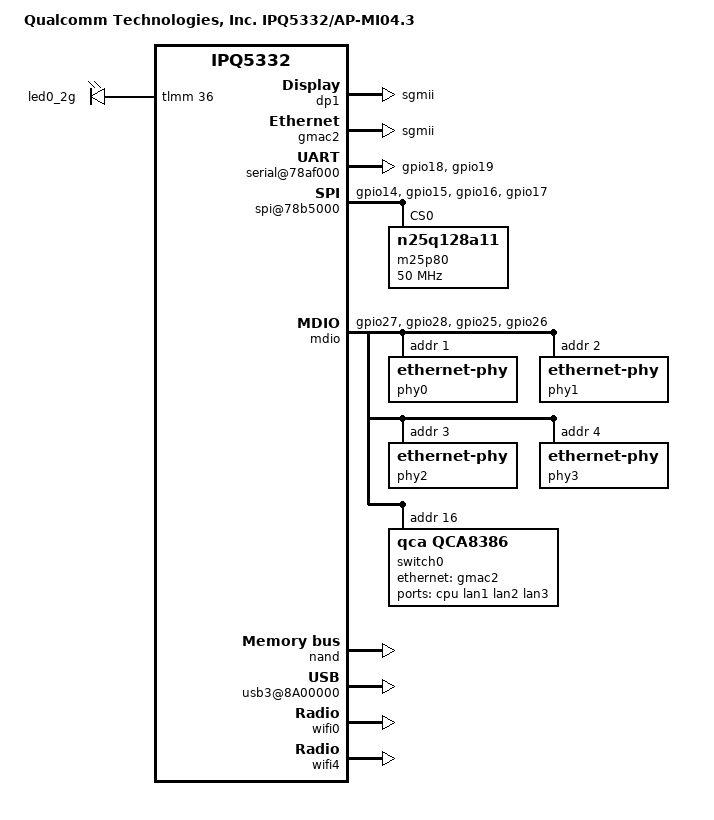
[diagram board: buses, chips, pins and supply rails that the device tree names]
// SPDX-License-Identifier: (GPL-2.0+ OR BSD-3-Clause)
/*
 * IPQ5332 AP-MI04.3 board device tree source
 *
 * Copyright (c) 2020-2021 The Linux Foundation. All rights reserved.
 * Copyright (c) 2022-2023 Qualcomm Innovation Center, Inc. All rights reserved.
 */

/dts-v1/;

#include "ipq5332.dtsi"
#include "ipq5332-memory.dtsi"

/ {
	#address-cells = <0x2>;
	#size-cells = <0x2>;
	model = "Qualcomm Technologies, Inc. IPQ5332/AP-MI04.3";
	compatible = "qcom,ipq5332-ap-mi04.3", "qcom,ipq5332";
	interrupt-parent = <&intc>;

	/*	  Layout for IPQ5332 + QCN6432
	 * +==========+==============+========================+
	 * |         |              |                         |
	 * |  Region | Start Offset |          Size           |
	 * |         |              |                         |
	 * +---------+--------------+-------------------------+
	 * |   Q6    |              |                         |
	 * |  code/  |  0x4A900000  |          20MB           |
	 * |  data   |              |                         |
	 * +---------+--------------+-------------------------+
	 * | IPQ5332 |              |                         |
	 * |  data   |  0x4BD00000  |          15MB           |
	 * +---------+--------------+-------------------------+
	 * | IPQ5332 |              |                         |
	 * | M3 Dump |  0x4CC00000  |           1MB           |
	 * +---------+--------------+-------------------------+
	 * | IPQ5332 |              |                         |
	 * |  QDSS   |  0x4CD00000  |           1MB           |
	 * +---------+--------------+-------------------------+
	 * |QCN6432_1|              |                         |
	 * |  data   |  0x4CE00000  |          16MB           |
	 * +---------+--------------+-------------------------+
	 * |QCN6432_1|              |                         |
	 * | M3 Dump |  0x4DE00000  |           1MB           |
	 * +---------+--------------+-------------------------+
	 * |QCN6432_1|              |                         |
	 * |  QDSS   |  0x4DF00000  |           1MB           |
	 * +---------+--------------+-------------------------+
	 * |         |              |                         |
	 * |   MLO   |  0x4E000000  |          9MB           |
	 * +==================================================+
	 * |                                                  |
	 * |                                                  |
	 * |                                                  |
	 * |             Rest of memory for Linux             |
	 * |                                                  |
	 * |                                                  |
	 * |                                                  |
	 * +==================================================+
	 */

	reserved-memory {

		/delete-node/ wcnss@4a900000;

		q6_mem_regions: q6_mem_regions@4A900000  {
			no-map;
			reg = <0x0 0x4a900000 0x0 0x3700000>;
		};

		q6_code_data: q6_code_data@4A900000 {
			no-map;
			reg = <0x0 0x4a900000 0x0 0x1400000>;
		};

		q6_ipq5332_data: q6_ipq5332_data@4BD00000 {
			no-map;
			reg = <0x0 0x4BD00000 0x0 0xF00000>;
		};

		m3_dump: m3_dump@4CC00000 {
			no-map;
			reg = <0x0 0x4CC00000 0x0 0x100000>;
		};

		q6_etr_region: q6_etr_dump@4CD00000 {
			no-map;
			reg = <0x0 0x4CD00000 0x0 0x100000>;
		};

		q6_qcn6432_data_1: q6_qcn6432_data_1@4CE00000 {
			no-map;
			reg = <0x0 0x4CE00000 0x0 0x1000000>;
		};

		m3_dump_qcn6432_1: m3_dump_qcn6432_1@4DE00000 {
			no-map;
			reg = <0x0 0x4DE00000 0x0 0x100000>;
                };

		q6_qcn6432_etr_1: q6_qcn6432_etr_1@4DF00000 {
			no-map;
			reg = <0x0 0x4DF00000 0x0 0x100000>;
		};

		mlo_global_mem0: mlo_global_mem_0@4E000000 {
			no-map;
			reg = <0x0 0x4E000000 0x0 0x900000>;
		};
	};

	aliases {
		serial0 = &blsp1_uart0;
		serial1 = &blsp1_uart1;
		ethernet0 = "/soc/dp1";
		ethernet1 = "/soc/dp2";
	};

	chosen {
		stdout-path = "serial0";
		bootargs-append = " clk_ignore_unused";
	};

	soc {
		pinctrl@1000000 {
			spi_0_pins: spi0-pinmux {
				spi_clock {
					pins = "gpio14";
					function = "blsp0_spi";
					drive-strength = <2>;
					bias-pull-down;
				};

				spi_mosi {
					pins = "gpio15";
					function = "blsp0_spi";
					drive-strength = <2>;
					bias-pull-down;
				};

				spi_miso {
					pins = "gpio16";
					function = "blsp0_spi";
					drive-strength = <2>;
					bias-pull-down;
				};

				spi_cs {
					pins = "gpio17";
					function = "blsp0_spi";
					drive-strength = <2>;
					bias-pull-up;
				};
			};

			serial_0_pins: serial0-pinmux {
				pins = "gpio18", "gpio19";
				function = "blsp0_uart0";
				drive-strength = <8>;
				bias-pull-up;
			};

			serial_1_pins: serial1-pinmux {
				pins = "gpio33", "gpio34", "gpio35", "gpio36";
				function = "blsp1_uart2";
				drive-strength = <8>;
				bias-pull-up;
			};

			i2c_1_pins: i2c-1-pinmux {
				pins = "gpio29", "gpio30";
				function = "blsp1_i2c0";
				drive-strength = <8>;
				bias-pull-up;
			};

			leds_pins: leds_pinmux {
				led0_2g {
					pins = "gpio36";
					function = "gpio";
					drive-strength = <8>;
					bias-pull-down;
				};
			};

			mdio0_pins: mdio0_pinmux {
				mux_0 {
					pins = "gpio25";
					function = "mdc0";
					drive-strength = <2>;
					bias-pull-up;
				};
				mux_1 {
					pins = "gpio26";
					function = "mdio0";
					drive-strength = <2>;
					bias-pull-up;
				};
			};

			mdio1_pins: mdio1_pinmux {
				mux_0 {
					pins = "gpio27";
					function = "mdc1";
					drive-strength = <8>;
					bias-pull-up;
				};
				mux_1 {
					pins = "gpio28";
					function = "mdio1";
					drive-strength = <8>;
					bias-pull-up;
				};
			};
		};

		dp1 {
			device_type = "network";
			compatible = "qcom,nss-dp";
			qcom,id = <2>;
			reg = <0x3a504000 0x4000>;
			qcom,mactype = <1>;
			local-mac-address = [000000000000];
			mdio-bus = <&mdio>;
			qcom,phy-mdio-addr = <4>;
			qcom,link-poll = <1>;
			phy-mode = "sgmii";
		};

		gmac2:dp2 {
			device_type = "network";
			compatible = "qcom,nss-dp";
			qcom,id = <1>;
			reg = <0x3a500000 0x4000>;
			qcom,mactype = <1>;
			local-mac-address = [000000000000];
			phy-mode = "sgmii";
			qcom,ppe-offload-disabled = <1>;
			qcom,mht-dev = <1>;
			qcom,is_switch_connected = <1>;
		};

		serial@78af000 {
			pinctrl-0 = <&serial_0_pins>;
			pinctrl-names = "default";
			status = "ok";
		};

		serial@78b0000 {
			pinctrl-0 = <&serial_1_pins>;
			pinctrl-names = "default";
			status = "disabled";
		};

		spi@78b5000 {
			pinctrl-0 = <&spi_0_pins>;
			pinctrl-names = "default";
			cs-select = <0>;
			status = "ok";

			m25p80@0 {
				compatible = "n25q128a11";
				#address-cells = <1>;
				#size-cells = <1>;
				reg = <0>;
				spi-max-frequency = <50000000>;
			};
		};

		i2c_1: i2c@78b6000 {
			pinctrl-0 = <&i2c_1_pins>;
			pinctrl-names = "default";
		};

		mdio:mdio@90000 {
			status = "ok";
			pinctrl-0 = <&mdio1_pins &mdio0_pins>;
			pinctrl-names = "default";
			/*gpio51 for manhattan reset*/
			phy-reset-gpio = <&tlmm 51 0>;
			phyaddr_fixup = <0xC90F018>;
			uniphyaddr_fixup = <0xC90F014>;
			mdio_clk_fixup; /* MDIO clock sequence fix up flag */

			phy0: ethernet-phy@0 {
				reg = <1>;
				fixup;
			};
			phy1: ethernet-phy@1 {
				reg = <2>;
				fixup;
			};
			phy2: ethernet-phy@2 {
				reg = <3>;
				fixup;
			};
			phy3: ethernet-phy@3 {
				reg = <4>;
				fixup;
			};

			switch0@10 {
				compatible = "qca,qca8386";
				#address-cells = <1>;
				#size-cells = <0>;
				reg = <0x10>;

				ports {
					#address-cells = <1>;
					#size-cells = <0>;

					port@0 {
						reg = <0>;
						label = "cpu";
						ethernet = <&gmac2>;
						phy-mode = "sgmii";
					};

					port@1 {
						reg = <1>;
						label = "lan1";
						phy-handle = <&phy0>;
					};

					port@2 {
						reg = <2>;
						label = "lan2";
						phy-handle = <&phy1>;
					};

					port@3 {
						reg = <3>;
						label = "lan3";
						phy-handle = <&phy2>;
					};
				};
			};
		};

		ess-instance {
			num_devices = <0x2>;
			ess-switch@3a000000 {
				switch_cpu_bmp = <0x1>;  /* cpu port bitmap */
				switch_lan_bmp = <0x2>; /* lan port bitmap */
				switch_wan_bmp = <0x4>; /* wan port bitmap */
				switch_mac_mode = <0xc>; /* mac mode for uniphy instance0*/
				switch_mac_mode1 = <0xf>; /* mac mode for uniphy instance1*/
				switch_mac_mode2 = <0xff>; /* mac mode for uniphy instance2*/
				qcom,port_phyinfo {
					port@0 {
						port_id = <1>;
						forced-speed = <2500>;
						forced-duplex = <1>;
					};
					port@1 {
						port_id = <2>;
						phy_address = <4>;
					};
				};

				led_source@5 {
					source = <5>;
					mode = "normal";
					speed = "all";
					blink_en = "enable";
					active = "high";
				};
			};

			ess-switch1@1 {
				compatible = "qcom,ess-switch-qca8386";
				device_id = <1>;
				switch_access_mode = "mdio";
				mdio-bus = <&mdio>;
				switch_mac_mode = <0xc>; /* mac mode for uniphy instance0 */
				switch_mac_mode1 = <0xff>; /* mac mode1 for uniphy instance1 */
				switch_cpu_bmp = <0x1>;  /* cpu port bitmap */
				switch_lan_bmp = <0xe>; /* lan port bitmap */
				switch_wan_bmp = <0x0>;  /* wan port bitmap */
				link-polling-required = <0>;
				fdb_sync = "interrupt";
				link-intr-gpio = <&tlmm 23 0>;
				qcom,port_phyinfo {
					port@0 {
						port_id = <0>;
						forced-speed = <2500>;
						forced-duplex = <1>;
					};
					port@1 {
						port_id = <1>;
						phy_address = <1>;
					};
					port@2 {
						port_id = <2>;
						phy_address = <2>;
					};
					port@3 {
						port_id = <3>;
						phy_address = <3>;
					};
				};

				led_source@2 {
					source = <2>;
					mode = "normal";
					speed = "all";
					blink_en = "enable";
					active = "high";
				};
				led_source@5 {
					source = <5>;
					mode = "normal";
					speed = "all";
					blink_en = "enable";
					active = "high";
				};
				led_source@8 {
					source = <8>;
					mode = "normal";
					speed = "all";
					blink_en = "enable";
					active = "high";
				};
			};
		};

		/* EDMA host driver configuration for the board */
		edma@3ab00000 {
			qcom,txdesc-ring-start = <4>;		/* Tx desc ring start ID */
			qcom,txdesc-rings = <12>;		/* Total number of Tx desc rings to be provisioned */
			qcom,mht-txdesc-rings = <8>;            /* Extra Tx desc rings to be provisioned for MHT SW ports. */
			qcom,txcmpl-ring-start = <4>;		/* Tx complete ring start ID */
			qcom,txcmpl-rings = <12>;		/* Total number of Tx complete rings to be provisioned */
			qcom,mht-txcmpl-rings = <8>;            /* Extra Tx complete rings to be provisioned for mht sw ports. */
			qcom,rxfill-ring-start = <4>;		/* Rx fill ring start ID */
			qcom,rxfill-rings = <4>;		/* Total number of Rx fill rings to be provisioned */
			qcom,rxdesc-ring-start = <12>;		/* Rx desc ring start ID */
			qcom,rxdesc-rings = <4>;		/* Total number of Rx desc rings to be provisioned */
			qcom,rx-page-mode = <0>;		/* Rx fill ring page mode */
			qcom,tx-map-priority-level = <1>;	/* Tx priority level per port */
			qcom,rx-map-priority-level = <1>;	/* Rx priority level per core */
			qcom,ppeds-num = <2>;			/* Number of PPEDS nodes */
			/* PPE-DS node format: <Rx-fill Tx-cmpl Rx Tx Queue-base Queue-count> */
			qcom,ppeds-map = <1 1 1 1 32 8>,	/* PPEDS Node #1 ring and queue map */
					<2 2 2 2 40 8>;		/* PPEDS Node #2 ring and queue map */
			qcom,txdesc-map = <8 9 10 11>,		/* Port0 per-core Tx ring map */
					  <12 13 14 15>,	/* MHT-Port1 per-core Tx ring map */
					  <4 5 6 7>,            /* MHT-Port2 per-core Tx ring map/packets from  vp*/
					  <16 17 18 19>,        /* MHT-Port3 per-core Tx ring map */
					  <20 21 22 23>;        /* MHT-Port4 per-core Tx ring map */
			qcom,txdesc-fc-grp-map = <1 2 3 4 5>;   /* Per GMAC flow control group map */
			qcom,rxfill-map = <4 5 6 7>;		/* Per-core Rx fill ring map */
			qcom,rxdesc-map = <12 13 14 15>;	/* Per-core Rx desc ring map */
			qcom,rx-queue-start = <0>;		/* Rx queue start */
			qcom,rx-ring-queue-map = <0 8 16 24>,	/* Priority 0 queues per-core Rx ring map */
						<1 9 17 25>,	/* Priority 1 queues per-core Rx ring map */
						<2 10 18 26>,	/* Priority 2 queues per-core Rx ring map */
						<3 11 19 27>,	/* Priority 3 queues per-core Rx ring map */
						<4 12 20 28>,	/* Priority 4 queues per-core Rx ring map */
						<5 13 21 29>,	/* Priority 5 queues per-core Rx ring map */
						<6 14 22 30>,	/* Priority 6 queues per-core Rx ring map */
						<7 15 23 31>;	/* Priority 7 queues per-core Rx ring map */
			interrupts = <0 163 4>,			/* Tx complete ring id #4 IRQ info */
				   <0 164 4>,			/* Tx complete ring id #5 IRQ info */
				   <0 165 4>,			/* Tx complete ring id #6 IRQ info */
				   <0 166 4>,			/* Tx complete ring id #7 IRQ info */
				   <0 167 4>,			/* Tx complete ring id #8 IRQ info */
				   <0 168 4>,			/* Tx complete ring id #9 IRQ info */
				   <0 169 4>,			/* Tx complete ring id #10 IRQ info */
				   <0 170 4>,			/* Tx complete ring id #11 IRQ info */
				   <0 171 4>,			/* Tx complete ring id #12 IRQ info */
				   <0 172 4>,			/* Tx complete ring id #13 IRQ info */
				   <0 173 4>,			/* Tx complete ring id #14 IRQ info */
				   <0 174 4>,			/* Tx complete ring id #15 IRQ info */
				   <0 139 4>,			/* Rx desc ring id #12 IRQ info */
				   <0 140 4>,			/* Rx desc ring id #13 IRQ info */
				   <0 141 4>,			/* Rx desc ring id #14 IRQ info */
				   <0 142 4>,			/* Rx desc ring id #15 IRQ info */
				   <0 191 4>,			/* Misc error IRQ info */
				<0 160 4>,			/* PPEDS Node #1(TxComp ring id #1) TxComplete IRQ info */
				<0 128 4>,			/* PPEDS Node #1(Rx Desc ring id #1) Rx Desc IRQ info */
				<0 152 4>,			/* PPEDS Node #1(RxFill Desc ring id #1) Rx Fill IRQ info */
				<0 161 4>,			/* PPEDS Node #2(TxComp ring id #2) TxComplete IRQ info */
				<0 129 4>,			/* PPEDS Node #2(Rx Desc ring id #2) Rx Desc IRQ info */
				<0 153 4>,			/* PPEDS Node #2(RxFill Desc ring id #2) Rx Fill IRQ info */
				   <0 175 4>,			/* MHT port Tx complete ring id #16 IRQ info */
				   <0 176 4>,			/* MHT port Tx complete ring id #17 IRQ info */
				   <0 177 4>,			/* MHT port Tx complete ring id #18 IRQ info */
				   <0 178 4>,			/* MHT port Tx complete ring id #19 IRQ info */
				   <0 179 4>,			/* MHT port Tx complete ring id #20 IRQ info */
				   <0 180 4>,			/* MHT port Tx complete ring id #21 IRQ info */
				   <0 181 4>,			/* MHT port Tx complete ring id #22 IRQ info */
				   <0 182 4>;			/* MHT port Tx complete ring id #23 IRQ info */
		};
		dma@7984000 {
			status = "ok";
		};

		nand: nand@79b0000 {
			pinctrl-0 = <&qspi_nand_pins>;
			pinctrl-names = "default";
			status = "ok";
		};

		usb3@8A00000 {
			status = "ok";
			qcom,select-utmi-as-pipe-clk;
			dwc3@8A00000 {
				/delete-property/ #phy-cells;
				/delete-property/ phys;
				/delete-property/ phy-names;
			};
		};

		hs_m31phy_0: hs_m31phy@7b000 {
			status = "ok";
		};

		leds {
			compatible = "gpio-leds";
			pinctrl-0 = <&leds_pins>;
			pinctrl-names = "default";
			led@36 {
				label = "led0_2g";
				gpios = <&tlmm 36 GPIO_ACTIVE_HIGH>;
				linux,default-trigger = "led_2g";
				default-state = "off";
			};
		};

		q6v5_wcss: remoteproc@d100000 {
			boot-args = <0x1 0x5 0x3 0x1 0x2f 0x2 0x0>;
			memory-region = <&q6_mem_regions>,
					<&mlo_global_mem0>;
		q6_wcss_pd1: remoteproc_pd1 {
			memory-region = <&q6_ipq5332_data>, <&m3_dump>,
					<&q6_etr_region>, <&mlo_global_mem0>;
			status = "ok";
		};

		q6_wcss_pd2: remoteproc_pd2 {
			iu_firmware = "qcn6432/iu_fw.mdt";
			memory-region = <&q6_qcn6432_data_1>, <&m3_dump_qcn6432_1>,
					<&q6_qcn6432_etr_1>, <&mlo_global_mem0>;
			status = "ok";
		};

			/delete-node/ remoteproc_pd3;
		};
	};
};

&wifi0 {
	qcom,multipd_arch;
	qcom,rproc = <&q6_wcss_pd1>;
	qcom,userpd-subsys-name = "q6v5_wcss_userpd1";
	qcom,tgt-mem-mode = <0x2>;
	qcom,bdf-addr = <0x4BD00000 0x4BD00000 0x4BD00000 0x0 0x0 0x0>;
	qcom,board_id = <0x43>;
	mem-region = <&q6_ipq5332_data>;
	status = "ok";
};

&wifi4 {
	qcom,multipd_arch;
	qcom,rproc = <&q6_wcss_pd2>;
	qcom,userpd-subsys-name = "q6v5_wcss_userpd2";
	qcom,tgt-mem-mode = <0x2>;
	qcom,bdf-addr = <0x4CE00000 0x4CE00000 0x4CE00000 0x0 0x0 0x0>;
	qcom,board_id = <0x054>;
	mem-region = <&q6_qcn6432_data_1>;
	qcom,pci_slot_id = <1>;
	status = "ok";
	interrupts = <0 410 1>;
};
